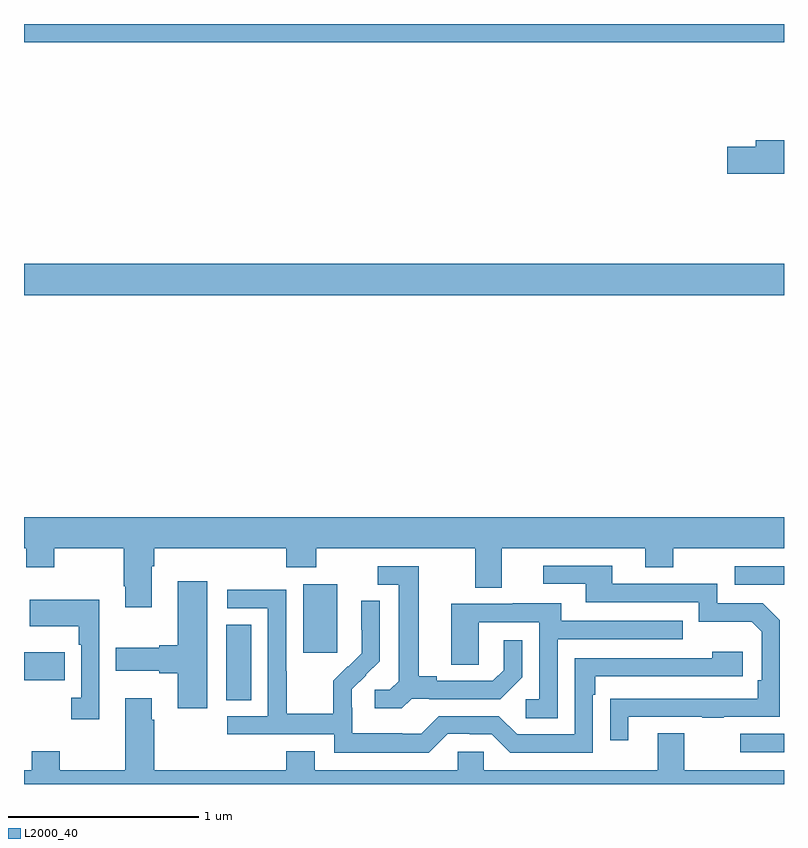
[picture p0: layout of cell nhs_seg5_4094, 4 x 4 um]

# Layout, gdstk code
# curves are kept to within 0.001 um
import gdstk
lib = gdstk.Library(unit=1e-6, precision=1e-09)
def R(c, l, rs):  # rectangles x0, y0, x1, y1
    for r in rs: c.add(gdstk.rectangle(r[:2], r[2:], *l))
def P(c, l, *ps):  # polygons
    for p in ps: c.add(gdstk.Polygon(p, *l))
L2000_40 = (2000, 40)

nhs_seg5_4094 = lib.new_cell('nhs_seg5_4094')
R(nhs_seg5_4094, L2000_40, [(354.771,908.967,355,909.063), (352.064,909.241,352.195,909.638), (351,909.346,351.215,909.493), (352.469,909.489,352.648,909.85), (354.741,909.849,355,909.945), (351,911.372,355,911.536), (351,912.704,355,912.799)])
P(nhs_seg5_4094, L2000_40, [(355,912.188),(354.851,912.188),(354.851,912.152),(354.702,912.152),(354.702,912.01),(355,912.01)],
  [(351.673,909.944),(351.686,909.944),(351.686,910.04),(352.379,910.04),(352.379,909.941),(352.539,909.941),(352.539,910.04),(353.375,910.04),(353.375,909.832),(353.515,909.832),(353.515,910.04),(354.269,910.04),(354.269,909.941),(354.417,909.941),(354.417,910.04),(355,910.04),(355,910.204),(351,910.204),(351,910.04),(351.012,910.04),(351.012,909.941),(351.159,909.941),(351.159,910.04),(351.526,910.04),(351.526,909.841),(351.533,909.841),(351.533,909.729),(351.673,909.729)],
  [(354.181,909.153),(354.571,909.153),(354.571,909.148),(354.683,909.148),(354.683,909.153),(354.978,909.153),(354.978,909.66),(354.888,909.75),(354.648,909.75),(354.648,909.852),(354.097,909.852),(354.097,909.948),(353.733,909.948),(353.733,909.852),(353.957,909.852),(353.957,909.756),(354.552,909.756),(354.552,909.653),(354.829,909.653),(354.882,909.6),(354.882,909.346),(354.862,909.346),(354.862,909.249),(354.085,909.248),(354.085,909.03),(354.181,909.03)],
  [(353.04,909.249),(353.134,909.249),(353.134,909.246),(353.506,909.246),(353.622,909.362),(353.622,909.556),(353.525,909.556),(353.525,909.399),(353.468,909.342),(353.173,909.342),(353.173,909.365),(353.077,909.365),(353.077,909.945),(352.863,909.945),(352.863,909.849),(352.973,909.849),(352.973,909.341),(352.926,909.294),(352.845,909.294),(352.845,909.197),(352.988,909.197)],
  [(351.964,909.865),(351.809,909.865),(351.809,909.53),(351.713,909.53),(351.713,909.517),(351.483,909.517),(351.483,909.395),(351.713,909.395),(351.713,909.383),(351.809,909.383),(351.809,909.198),(351.964,909.198)],
  [(353.229,909.063),(353.345,909.063),(353.345,909.06),(353.463,909.06),(353.559,908.964),(353.994,908.964),(353.994,909.269),(354.007,909.269),(354.007,909.366),(354.784,909.366),(354.784,909.496),(354.623,909.496),(354.623,909.462),(353.898,909.462),(353.898,909.06),(353.595,909.06),(353.499,909.156),(353.184,909.156),(353.091,909.063),(352.991,909.063),(352.991,909.067),(352.728,909.067),(352.728,909.201),(352.726,909.201),(352.726,909.298),(352.872,909.446),(352.872,909.764),(352.776,909.764),(352.776,909.61),(352.778,909.61),(352.778,909.488),(352.707,909.417),(352.704,909.42),(352.627,909.343),(352.627,909.169),(352.383,909.169),(352.383,909.392),(352.38,909.392),(352.38,909.822),(352.071,909.822),(352.071,909.723),(352.284,909.723),(352.284,909.156),(352.071,909.156),(352.071,909.06),(352.632,909.06),(352.632,908.963),(353.129,908.963)],
  [(351.396,909.769),(351.031,909.769),(351.031,909.629),(351.288,909.629),(351.288,909.533),(351.3,909.533),(351.3,909.254),(351.249,909.254),(351.249,909.141),(351.396,909.141)],
  [(353.808,909.561),(354.467,909.561),(354.467,909.657),(353.827,909.657),(353.827,909.751),(353.573,909.751),(353.573,909.747),(353.249,909.747),(353.249,909.427),(353.394,909.427),(353.394,909.651),(353.712,909.651),(353.712,909.246),(353.64,909.246),(353.64,909.145),(353.808,909.145)],
  [(355,908.872),(354.475,908.872),(354.475,909.067),(354.335,909.067),(354.335,908.872),(353.421,908.872),(353.421,908.97),(353.283,908.97),(353.283,908.872),(352.531,908.872),(352.531,908.971),(352.379,908.971),(352.379,908.872),(351.686,908.872),(351.686,909.137),(351.673,909.137),(351.673,909.25),(351.533,909.25),(351.533,908.872),(351.189,908.872),(351.189,908.971),(351.041,908.971),(351.041,908.872),(351,908.872),(351,908.799),(355,908.799)])

lib.write_gds('nhs_seg5_4094.gds')
